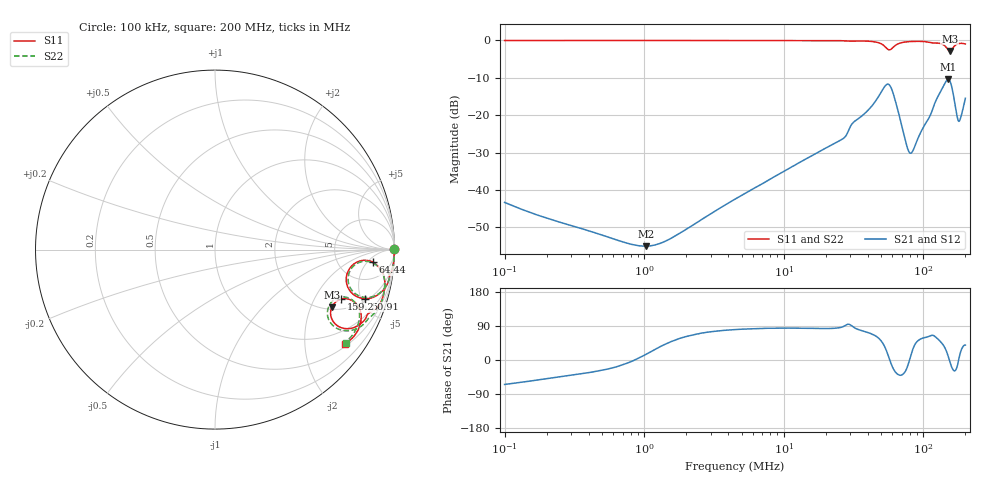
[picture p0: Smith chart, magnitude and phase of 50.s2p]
#  HZ  S  RI  R  50.00
! Rohde & Schwarz Vector Network Analyzer
! Rohde-Schwarz,ZNLE6-2Port,1323001256200024,1.71.1.10-23.02.1.238
! Created: UTC 4/7/2025, 1:38:45 AM
! freq[Hz]  re:S11  im:S11  re:S21  im:S21  re:S12  im:S12  re:S22  im:S22
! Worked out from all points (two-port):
!   1001 points, 100 kHz to 200 MHz, reference 50 ohm
!   highest |S21| = -10.41 dB at 151 MHz (marker M1); lowest = -55.0 dB at 1.031 MHz (marker M2)
!   |S21| within 3 dB of the highest: 50.64 MHz to 59.8 MHz (9.161 MHz wide, 16.6 % of centre); 134 MHz to 161.8 MHz (27.88 MHz wide, 18.9 % of centre)
!   lowest |S11| = -2.8 dB at 154.5 MHz (marker M3), VSWR 6.28, Z = 105 - j142 ohm
!   |S11| at or under -10 dB: nowhere
!   |S22| runs from -3.0 to 0.0 dB; largest |S21 - S12| = 0.0056
!   S11 on the Smith chart (normalised r, x): 100 kHz: open; 50.91 MHz: 2.21, -5.41; 64.44 MHz: 11, -7; 159.2 MHz: 2.60, -3.34; 200 MHz: 0.56, -2.97
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100000  0.9972 0.00605  0.00293 -0.00616  0.00294 -0.00618  0.9972 0.00589
355854.1  0.9976 0.000878  0.00245 -0.0018  0.00246 -0.00181  0.9977 0.000868
1031374  0.9983 -0.0031  0.00171 0.000461  0.00172 0.000467  0.9983 -0.00326
1266322  0.9985 -0.00427  0.0016 0.00103  0.0016 0.00104  0.9984 -0.00442
4472136  0.9985 -0.0194  0.00128 0.00745  0.00131 0.00745  0.9988 -0.0188
1.591428e7  0.9953 -0.0707  0.00325 0.0287  0.00338 0.0287  0.9955 -0.0716
2.688797e7  0.98 -0.1285  0.00104 0.0493  0.00131 0.0492  0.9774 -0.1297
3.130247e7  0.9715 -0.1382  0.00341 0.0792  0.00344 0.079  0.9691 -0.1343
4.146835e7  0.9502 -0.2085  0.0413 0.1173  0.0428 0.1162  0.952 -0.204
5.091486e7  0.8376 -0.2733  0.1518 0.1554  0.1535 0.1525  0.8438 -0.2669
5.663162e7  0.7311 -0.1608  0.2559 0.0292  0.2558 0.0251  0.7413 -0.1587
6.444312e7  0.8789 -0.0695  0.108 -0.0775  0.1077 -0.0784  0.8812 -0.0752
7.617267e7  0.9442 -0.1626  0.0358 -0.0141  0.0357 -0.0153  0.9439 -0.1666
8.21882e7  0.9462 -0.2018  0.0299 0.00964  0.0297 0.00841  0.9449 -0.2061
1.183747e8  0.8522 -0.3575  0.0564 0.1183  0.0578 0.1188  0.8596 -0.3794
1.388611e8  0.7604 -0.4383  0.1874 0.1542  0.187 0.15  0.7495 -0.452
1.509704e8  0.6458 -0.3719  0.2984 0.0451  0.2946 0.041  0.6272 -0.3708
1.544525e8  0.6503 -0.3213  0.2893 -0.0169  0.2853 -0.0205  0.6347 -0.3148
1.592205e8  0.7012 -0.2766  0.2332 -0.0757  0.2289 -0.079  0.6869 -0.2673
1.784492e8  0.8126 -0.3972  0.0835 -0.00319  0.0828 -0.00561  0.8039 -0.3879
1.853616e8  0.7969 -0.4486  0.0863 0.0362  0.0869 0.0335  0.7879 -0.4409
2e8  0.7223 -0.5283  0.1301 0.1073  0.1349 0.1056  0.7272 -0.5228
